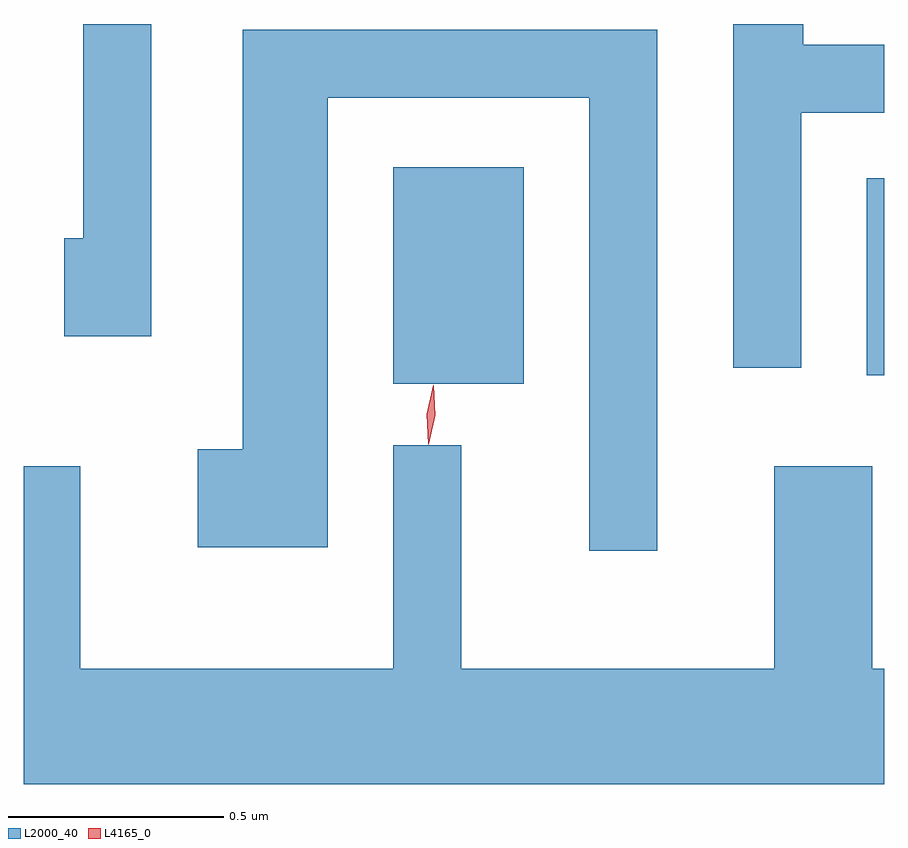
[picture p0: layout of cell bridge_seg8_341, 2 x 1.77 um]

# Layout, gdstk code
import gdstk
lib = gdstk.Library(unit=1e-6, precision=1e-09)
def R(c, l, rs):  # rectangles x0, y0, x1, y1
    for r in rs: c.add(gdstk.rectangle(r[:2], r[2:], *l))
def P(c, l, *ps):  # polygons
    for p in ps: c.add(gdstk.Polygon(p, *l))
L2000_40 = (2000, 40)
L4165_0 = (4165, 0)

bridge_seg8_341 = lib.new_cell('bridge_seg8_341')
R(bridge_seg8_341, L2000_40, [(896.446,1877.306,896.749,1877.809), (897.546,1877.326,897.587,1877.784)])
P(bridge_seg8_341, L2000_40, [(895.884,1878.142),(895.726,1878.142),(895.726,1877.644),(895.681,1877.644),(895.681,1877.416),(895.884,1877.416)],
  [(897.394,1877.936),(897.587,1877.936),(897.587,1878.094),(897.399,1878.094),(897.399,1878.142),(897.236,1878.142),(897.236,1877.343),(897.394,1877.343)],
  [(897.059,1878.129),(896.096,1878.129),(896.096,1877.154),(895.991,1877.154),(895.991,1876.926),(896.294,1876.926),(896.294,1877.971),(896.901,1877.971),(896.901,1876.918),(897.059,1876.918)],
  [(897.587,1876.644),(897.559,1876.644),(897.559,1877.114),(897.331,1877.114),(897.331,1876.644),(896.604,1876.644),(896.604,1877.163),(896.446,1877.163),(896.446,1876.644),(895.719,1876.644),(895.719,1877.114),(895.587,1877.114),(895.587,1876.376),(897.587,1876.376)])
P(bridge_seg8_341, L4165_0, [(896.527,1877.165),(896.524,1877.235),(896.539,1877.303),(896.54,1877.303),(896.54,1877.303),(896.544,1877.233),(896.528,1877.165),(896.528,1877.165)],
  [(896.527,1877.168),(896.524,1877.235),(896.539,1877.3),(896.54,1877.3),(896.54,1877.3),(896.544,1877.233),(896.528,1877.168),(896.528,1877.168)])

lib.write_gds('bridge_seg8_341.gds')
